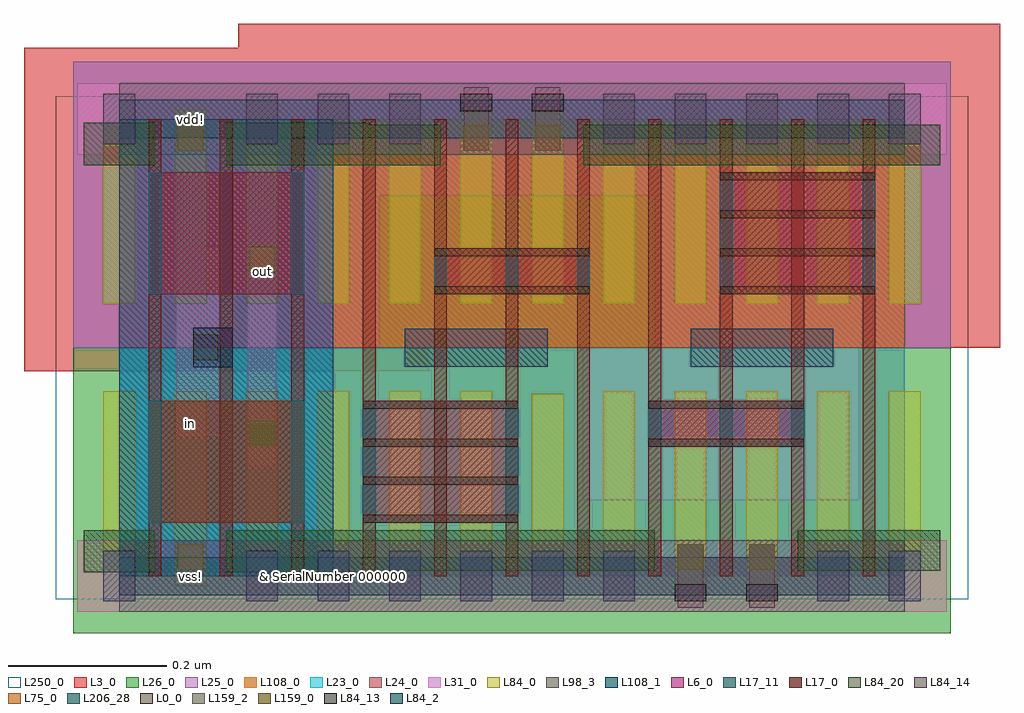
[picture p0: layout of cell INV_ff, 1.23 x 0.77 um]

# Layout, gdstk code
import gdstk
lib = gdstk.Library(unit=1e-6, precision=1e-09)
def R(c, l, rs):  # rectangles x0, y0, x1, y1
    for r in rs: c.add(gdstk.rectangle(r[:2], r[2:], *l))
def A(c, l, x, y, w, h, nx, ny, dx, dy):  # array of equal rectangles
    R(c, l, [(x+i*dx, y+j*dy, x+i*dx+w, y+j*dy+h) for i in range(nx) for j in range(ny)])
def P(c, l, *ps):  # polygons
    for p in ps: c.add(gdstk.Polygon(p, *l))
L0_0 = (0, 0)
L3_0 = (3, 0)
L6_0 = (6, 0)
L17_0 = (17, 0)
L17_11 = (17, 11)
L23_0 = (23, 0)
L24_0 = (24, 0)
L25_0 = (25, 0)
L26_0 = (26, 0)
L31_0 = (31, 0)
L75_0 = (75, 0)
L84_0 = (84, 0)
L84_2 = (84, 2)
L84_13 = (84, 13)
L84_14 = (84, 14)
L84_20 = (84, 20)
L98_3 = (98, 3)
L108_0 = (108, 0)
L108_1 = (108, 1)
L159_0 = (159, 0)
L159_2 = (159, 2)
L206_28 = (206, 28)
L250_0 = (250, 0)

nch_svt_mac_cdns_7448580 = lib.new_cell('nch_svt_mac_CDNS_744858089250')
A(nch_svt_mac_cdns_7448580, L6_0, -0.09, 0, 0.016, 0.154, 3, 1, 0.09, 0)
R(nch_svt_mac_cdns_7448580, L6_0, [(-0.074,0,0,0.154), (0.016,0,0.09,0.154)])
R(nch_svt_mac_cdns_7448580, L17_0, [(-0.09,-0.061,-0.074,0.215), (0,-0.061,0.016,0), (0.09,-0.061,0.106,0.215), (0,0,0.016,0.154), (0,0.154,0.016,0.215)])
R(nch_svt_mac_cdns_7448580, L75_0, [(-0.09,0,0.106,0.154)])
A(nch_svt_mac_cdns_7448580, L84_0, -0.147, -0.012, 0.04, 0.178, 4, 1, 0.09, 0)
R(nch_svt_mac_cdns_7448580, L206_28, [(-0.09,0,-0.074,0.154), (0.09,0,0.106,0.154)])
nch_svt_mac_cdns_7448580.add(gdstk.Label('D', (0.053,0.077), layer=127, texttype=0))
nch_svt_mac_cdns_7448580.add(gdstk.Label('S', (-0.037,0.077), layer=127, texttype=0))
nch_svt_mac_cdns_7448580.add(gdstk.Label('nch_svt_mac', (0,0.02), layer=127, texttype=0))
nch_svt_mac_cdns_7448580.add(gdstk.Label('0.154/0.016', (0,0), layer=127, texttype=0))
nch_svt_mac_cdns_7448580.add(gdstk.Label('& SerialNumber 000000', (0,0), layer=63, texttype=63))
nch_svt_mac_cdns_7448580.add(gdstk.Label('& Distributor TSMC', (0,0), layer=63, texttype=63))
nch_svt_mac_cdns_7448580.add(gdstk.Label('& Metric 1', (0,0), layer=63, texttype=63))
nch_svt_mac_cdns_7448580.add(gdstk.Label('& PDK Version "tsmcN16_N16ADFP_iPDK_v1.0_20220119"', (0,0), layer=63, texttype=63))
nch_svt_mac_cdns_7448580.add(gdstk.Label('& PDK TechNode "N16ADFP"', (0,0), layer=63, texttype=63))
nch_svt_mac_cdns_7448580.add(gdstk.Label('& Product tsmcN16_PDK', (0,0), layer=63, texttype=63))
nch_svt_mac_cdns_7448580.add(gdstk.Label('& Vendor  Taiwan Semiconductor manufacturing Corp.', (0,0), layer=63, texttype=63))

pch_svt_mac_cdns_7448580 = lib.new_cell('pch_svt_mac_CDNS_744858089251')
A(pch_svt_mac_cdns_7448580, L6_0, -0.09, 0, 0.016, 0.154, 3, 1, 0.09, 0)
R(pch_svt_mac_cdns_7448580, L6_0, [(-0.074,0,0,0.154), (0.016,0,0.09,0.154)])
R(pch_svt_mac_cdns_7448580, L17_0, [(-0.09,-0.061,-0.074,0.215), (0,-0.061,0.016,0), (0.09,-0.061,0.106,0.215), (0,0,0.016,0.154), (0,0.154,0.016,0.215)])
A(pch_svt_mac_cdns_7448580, L84_0, -0.147, -0.012, 0.04, 0.178, 4, 1, 0.09, 0)
R(pch_svt_mac_cdns_7448580, L206_28, [(-0.09,0,-0.074,0.154), (0.09,0,0.106,0.154)])
pch_svt_mac_cdns_7448580.add(gdstk.Label('D', (0.053,0.077), layer=127, texttype=0))
pch_svt_mac_cdns_7448580.add(gdstk.Label('S', (-0.037,0.077), layer=127, texttype=0))
pch_svt_mac_cdns_7448580.add(gdstk.Label('pch_svt_mac', (0,0.02), layer=127, texttype=0))
pch_svt_mac_cdns_7448580.add(gdstk.Label('0.154/0.016', (0,0), layer=127, texttype=0))
pch_svt_mac_cdns_7448580.add(gdstk.Label('& SerialNumber 000000', (0,0), layer=63, texttype=63))
pch_svt_mac_cdns_7448580.add(gdstk.Label('& Distributor TSMC', (0,0), layer=63, texttype=63))
pch_svt_mac_cdns_7448580.add(gdstk.Label('& Metric 1', (0,0), layer=63, texttype=63))
pch_svt_mac_cdns_7448580.add(gdstk.Label('& PDK Version "tsmcN16_N16ADFP_iPDK_v1.0_20220119"', (0,0), layer=63, texttype=63))
pch_svt_mac_cdns_7448580.add(gdstk.Label('& PDK TechNode "N16ADFP"', (0,0), layer=63, texttype=63))
pch_svt_mac_cdns_7448580.add(gdstk.Label('& Product tsmcN16_PDK', (0,0), layer=63, texttype=63))
pch_svt_mac_cdns_7448580.add(gdstk.Label('& Vendor  Taiwan Semiconductor manufacturing Corp.', (0,0), layer=63, texttype=63))

inv_ff = lib.new_cell('INV_ff')
A(inv_ff, L0_0, 0.307, 0.067, 0.196, 0.01, 1, 4, 0, 0.048)
A(inv_ff, L0_0, 0.757, 0.355, 0.196, 0.01, 1, 4, 0, 0.048)
R(inv_ff, L0_0, [(0.667,0.163,0.863,0.173), (0.667,0.211,0.863,0.221), (0.397,0.355,0.593,0.365), (0.397,0.403,0.593,0.413)])
R(inv_ff, L3_0, [(-0.12,0.258,0.39,0.666), (0.15,0.288,1.11,0.696)])
R(inv_ff, L6_0, [(0.307,0.067,0.503,0.221), (0.667,0.163,0.863,0.221), (0.397,0.355,0.593,0.413), (0.757,0.355,0.953,0.509)])
A(inv_ff, L17_0, 0.037, 0, 0.016, 0.006, 3, 2, 0.09, 0.57)
A(inv_ff, L17_0, 0.307, 0, 0.016, 0.576, 8, 1, 0.09, 0)
A(inv_ff, L17_0, 0.037, 0.282, 0.016, 0.012, 3, 1, 0.09, 0)
R(inv_ff, L17_11, [(0,-0.024,0.27,0.024), (0.27,-0.024,0.99,0.024), (0.36,0.264,0.54,0.312), (0.72,0.264,0.9,0.312), (0,0.552,0.27,0.6), (0.27,0.552,0.99,0.6)])
R(inv_ff, L23_0, [(0,0,0.27,0.288), (0.27,0,0.99,0.288)])
R(inv_ff, L24_0, [(0,0.288,0.27,0.576), (0.27,0.288,0.99,0.576)])
R(inv_ff, L25_0, [(-0.058,0.288,0.328,0.648)])
P(inv_ff, L25_0, [(0.212,0.648),(1.048,0.648),(1.048,0.288),(0.932,0.288),(0.932,0.096),(0.585,0.096),(0.585,0.288),(0.675,0.288),(0.675,0.48),(0.328,0.48),(0.328,0.288),(0.212,0.288)])
R(inv_ff, L26_0, [(-0.058,-0.072,0.328,0.288)])
P(inv_ff, L26_0, [(0.212,0.288),(0.328,0.288),(0.328,0.48),(0.675,0.48),(0.675,0.288),(0.585,0.288),(0.585,0.096),(0.932,0.096),(0.932,0.288),(1.048,0.288),(1.048,-0.072),(0.212,-0.072)])
R(inv_ff, L31_0, [(-0.053,-0.045,0.323,0.045), (0.217,-0.045,1.043,0.045), (0.162,0.137,0.198,0.467), (0.072,0.176,0.127,0.416), (-0.053,0.531,0.323,0.621), (0.217,0.531,1.043,0.621)])
A(inv_ff, L84_0, 0.25, 0.032, 0.04, 0.201, 3, 1, 0.09, 0)
A(inv_ff, L84_0, 0.61, 0.343, 0.04, 0.201, 5, 1, 0.09, 0)
R(inv_ff, L84_0, [(0.07,-0.012,0.11,0.055), (0.7,-0.01,0.74,0.233), (0.79,-0.01,0.83,0.233), (-0.02,0.032,0.02,0.055), (0.16,0.032,0.2,0.055), (0.25,0.032,0.29,0.055), (0.52,0.032,0.56,0.23), (0.61,0.032,0.65,0.233), (0.88,0.032,0.92,0.233), (0.97,0.032,1.01,0.233), (0.25,0.343,0.29,0.544), (0.34,0.343,0.38,0.544), (0.43,0.343,0.47,0.586), (0.52,0.343,0.56,0.586), (-0.02,0.521,0.02,0.544), (0.07,0.521,0.11,0.588), (0.16,0.521,0.2,0.544), (0.25,0.521,0.29,0.544)])
R(inv_ff, L84_2, [(0.093,0.263,0.143,0.313)])
R(inv_ff, L84_13, [(0.7,-0.032,0.74,-0.01), (0.79,-0.032,0.83,-0.01), (0.43,0.586,0.47,0.608), (0.52,0.586,0.56,0.608)])
A(inv_ff, L84_14, 0.25, -0.032, 0.04, 0.064, 5, 1, 0.09, 0)
A(inv_ff, L84_14, 0.61, 0.544, 0.04, 0.064, 5, 1, 0.09, 0)
R(inv_ff, L84_14, [(-0.02,-0.032,0.02,0.032), (0.16,-0.032,0.2,0.032), (0.25,-0.032,0.29,0.032), (0.88,-0.032,0.92,0.032), (0.97,-0.032,1.01,0.032), (-0.02,0.544,0.02,0.608), (0.16,0.544,0.2,0.608), (0.25,0.544,0.29,0.608), (0.25,0.544,0.29,0.608), (0.34,0.544,0.38,0.608)])
R(inv_ff, L84_20, [(-0.045,0.005,0.045,0.058), (0.135,0.005,0.225,0.058), (0.225,0.005,0.315,0.058), (0.225,0.007,0.675,0.058), (0.855,0.007,1.035,0.058), (-0.045,0.518,0.045,0.571), (0.135,0.518,0.225,0.571), (0.225,0.518,0.405,0.569), (0.225,0.518,0.315,0.571), (0.585,0.518,1.035,0.569)])
R(inv_ff, L98_3, [(0,-0.045,0.27,0.045), (0.27,-0.045,0.99,0.045), (0,0.531,0.27,0.621), (0.27,0.531,0.99,0.621)])
R(inv_ff, L108_0, [(0.27,0,0.99,0.576)])
R(inv_ff, L108_1, [(0,0,0.27,0.576)])
R(inv_ff, L159_0, [(0.074,0.008,0.106,0.04), (0.704,0.008,0.736,0.04), (0.794,0.008,0.826,0.04), (0.164,0.164,0.196,0.196), (0.093,0.272,0.125,0.304), (0.164,0.383,0.196,0.415), (0.074,0.536,0.106,0.568), (0.434,0.536,0.466,0.568), (0.524,0.536,0.556,0.568)])
R(inv_ff, L159_2, [(0.704,-0.04,0.736,0.04), (0.794,-0.04,0.826,0.04), (0.434,0.536,0.466,0.616), (0.524,0.536,0.556,0.616)])
A(inv_ff, L206_28, 0.667, 0.163, 0.016, 0.058, 3, 1, 0.09, 0)
A(inv_ff, L206_28, 0.397, 0.355, 0.016, 0.058, 3, 1, 0.09, 0)
R(inv_ff, L206_28, [(0.307,0.067,0.323,0.221), (0.487,0.067,0.503,0.221), (0.757,0.355,0.773,0.509), (0.937,0.355,0.953,0.509)])
R(inv_ff, L250_0, [(-0.08,-0.029,0.35,0.605), (0.19,-0.029,1.07,0.605)])
inv_ff.add(gdstk.Reference(nch_svt_mac_cdns_7448580, (0.127,0.067)))
inv_ff.add(gdstk.Reference(pch_svt_mac_cdns_7448580, (0.127,0.355)))
inv_ff.add(gdstk.Label('& SerialNumber 000000', (0.27,0), layer=6, texttype=0))
inv_ff.add(gdstk.Label('& Vendor Taiwan Semiconductor Manufacturing Corp.', (0.27,0), layer=6, texttype=0))
inv_ff.add(gdstk.Label('& _Instance_tag TAPCELLBWP16P90', (0.27,0), layer=6, texttype=0))
inv_ff.add(gdstk.Label('& Metric 0.415', (0.27,0), layer=6, texttype=0))
inv_ff.add(gdstk.Label('& Version 100b', (0.27,0), layer=6, texttype=0))
inv_ff.add(gdstk.Label('& Product N16ADFP_StdCell', (0.27,0), layer=6, texttype=0))
inv_ff.add(gdstk.Label('& Distributor TSMC', (0.27,0), layer=6, texttype=0))
inv_ff.add(gdstk.Label('vdd!', (0.09,0.576), layer=131, texttype=0))
inv_ff.add(gdstk.Label('in', (0.09,0.192), layer=131, texttype=0))
inv_ff.add(gdstk.Label('out', (0.18,0.384), layer=131, texttype=0))
inv_ff.add(gdstk.Label('vss!', (0.09,0), layer=131, texttype=0))
inv_ff.add(gdstk.Label('& Distributor TSMC', (0.27,0), layer=63, texttype=63))
inv_ff.add(gdstk.Label('& Metric 0.415', (0.27,0), layer=63, texttype=63))
inv_ff.add(gdstk.Label('& Product N16ADFP_StdCell', (0.27,0), layer=63, texttype=63))
inv_ff.add(gdstk.Label('& SerialNumber 000000', (0.27,0), layer=63, texttype=63))
inv_ff.add(gdstk.Label('& Vendor Taiwan Semiconductor Manufacturing Corp.', (0.27,0), layer=63, texttype=63))
inv_ff.add(gdstk.Label('& Version 100b', (0.27,0), layer=63, texttype=63))
inv_ff.add(gdstk.Label('& _Instance_tag TAPCELLBWP16P90', (0.27,0), layer=63, texttype=63))
inv_ff.add(gdstk.Label('& Version 100b', (0.27,0), layer=3, texttype=0))
inv_ff.add(gdstk.Label('& _Instance_tag TAPCELLBWP16P90', (0.27,0), layer=3, texttype=0))
inv_ff.add(gdstk.Label('& Vendor Taiwan Semiconductor Manufacturing Corp.', (0.27,0), layer=3, texttype=0))
inv_ff.add(gdstk.Label('& SerialNumber 000000', (0.27,0), layer=3, texttype=0))
inv_ff.add(gdstk.Label('& Metric 0.415', (0.27,0), layer=3, texttype=0))
inv_ff.add(gdstk.Label('& Product N16ADFP_StdCell', (0.27,0), layer=3, texttype=0))
inv_ff.add(gdstk.Label('& Distributor TSMC', (0.27,0), layer=3, texttype=0))

lib.write_gds('INV_ff.gds')
